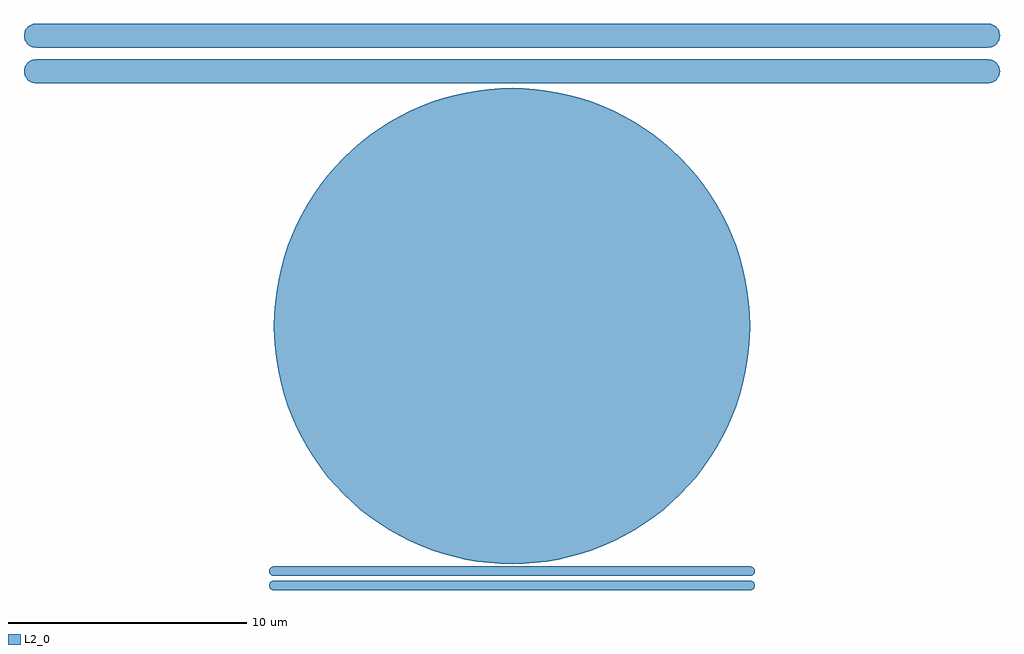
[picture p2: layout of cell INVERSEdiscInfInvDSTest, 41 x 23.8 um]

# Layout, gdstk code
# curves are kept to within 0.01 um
import gdstk
lib = gdstk.Library(unit=1e-6, precision=1e-09)
def R(c, l, rs):  # rectangles x0, y0, x1, y1
    for r in rs: c.add(gdstk.rectangle(r[:2], r[2:], *l))
def P(c, l, *ps):  # polygons
    for p in ps: c.add(gdstk.Polygon(p, *l))
L2_0 = (2, 0)

inversediscinfinvdstest = lib.new_cell('INVERSEdiscInfInvDSTest')
R(inversediscinfinvdstest, L2_0, [(-10,-11.1,10,-10.7), (-10,-10.5,10,-10.1), (-20,10.2,20,11.2), (-20,11.7,20,12.7)])
P(inversediscinfinvdstest, L2_0, [(0,-10),(-0.491,-9.988),(-0.98,-9.952),(-1.467,-9.892),(-1.951,-9.808),(-2.43,-9.7),(-2.903,-9.569),(-3.369,-9.415),(-3.827,-9.239),(-4.276,-9.04),(-4.714,-8.819),(-5.141,-8.577),(-5.556,-8.315),(-5.957,-8.032),(-6.344,-7.73),(-6.716,-7.41),(-7.071,-7.071),(-7.41,-6.716),(-7.73,-6.344),(-8.032,-5.957),(-8.315,-5.556),(-8.577,-5.141),(-8.819,-4.714),(-9.04,-4.276),(-9.239,-3.827),(-9.415,-3.369),(-9.569,-2.903),(-9.7,-2.43),(-9.808,-1.951),(-9.892,-1.467),(-9.952,-0.98),(-9.988,-0.491),(-10,0),(-9.988,0.491),(-9.952,0.98),(-9.892,1.467),(-9.808,1.951),(-9.7,2.43),(-9.569,2.903),(-9.415,3.369),(-9.239,3.827),(-9.04,4.276),(-8.819,4.714),(-8.577,5.141),(-8.315,5.556),(-8.032,5.957),(-7.73,6.344),(-7.41,6.716),(-7.071,7.071),(-6.716,7.41),(-6.344,7.73),(-5.957,8.032),(-5.556,8.315),(-5.141,8.577),(-4.714,8.819),(-4.276,9.04),(-3.827,9.239),(-3.369,9.415),(-2.903,9.569),(-2.43,9.7),(-1.951,9.808),(-1.467,9.892),(-0.98,9.952),(-0.491,9.988),(0,10),(0.491,9.988),(0.98,9.952),(1.467,9.892),(1.951,9.808),(2.43,9.7),(2.903,9.569),(3.369,9.415),(3.827,9.239),(4.276,9.04),(4.714,8.819),(5.141,8.577),(5.556,8.315),(5.957,8.032),(6.344,7.73),(6.716,7.41),(7.071,7.071),(7.41,6.716),(7.73,6.344),(8.032,5.957),(8.315,5.556),(8.577,5.141),(8.819,4.714),(9.04,4.276),(9.239,3.827),(9.415,3.369),(9.569,2.903),(9.7,2.43),(9.808,1.951),(9.892,1.467),(9.952,0.98),(9.988,0.491),(10,0),(9.988,-0.491),(9.952,-0.98),(9.892,-1.467),(9.808,-1.951),(9.7,-2.43),(9.569,-2.903),(9.415,-3.369),(9.239,-3.827),(9.04,-4.276),(8.819,-4.714),(8.577,-5.141),(8.315,-5.556),(8.032,-5.957),(7.73,-6.344),(7.41,-6.716),(7.071,-7.071),(6.716,-7.41),(6.344,-7.73),(5.957,-8.032),(5.556,-8.315),(5.141,-8.577),(4.714,-8.819),(4.276,-9.04),(3.827,-9.239),(3.369,-9.415),(2.903,-9.569),(2.43,-9.7),(1.951,-9.808),(1.467,-9.892),(0.98,-9.952),(0.491,-9.988)],
  [(20,10.2),(20,11.2),(20.101,11.19),(20.195,11.161),(20.354,11.054),(20.461,10.895),(20.49,10.801),(20.5,10.7),(20.49,10.599),(20.461,10.505),(20.354,10.346),(20.195,10.239),(20.101,10.21)],
  [(-20,10.2),(-20.101,10.21),(-20.195,10.239),(-20.354,10.346),(-20.461,10.505),(-20.49,10.599),(-20.5,10.7),(-20.49,10.801),(-20.461,10.895),(-20.354,11.054),(-20.195,11.161),(-20.101,11.19),(-20,11.2)],
  [(20,11.7),(20,12.7),(20.101,12.69),(20.195,12.661),(20.354,12.554),(20.461,12.395),(20.49,12.301),(20.5,12.2),(20.49,12.099),(20.461,12.005),(20.354,11.846),(20.195,11.739),(20.101,11.71)],
  [(-20,11.7),(-20.101,11.71),(-20.195,11.739),(-20.354,11.846),(-20.461,12.005),(-20.49,12.099),(-20.5,12.2),(-20.49,12.301),(-20.461,12.395),(-20.354,12.554),(-20.195,12.661),(-20.101,12.69),(-20,12.7)],
  [(10,-10.5),(10,-10.1),(10.078,-10.116),(10.141,-10.159),(10.184,-10.222),(10.2,-10.3),(10.184,-10.378),(10.141,-10.441),(10.078,-10.484)],
  [(-10,-10.5),(-10.078,-10.484),(-10.141,-10.441),(-10.184,-10.378),(-10.2,-10.3),(-10.184,-10.222),(-10.141,-10.159),(-10.078,-10.116),(-10,-10.1)],
  [(10,-11.1),(10,-10.7),(10.078,-10.716),(10.141,-10.759),(10.184,-10.822),(10.2,-10.9),(10.184,-10.978),(10.141,-11.041),(10.078,-11.084)],
  [(-10,-11.1),(-10.078,-11.084),(-10.141,-11.041),(-10.184,-10.978),(-10.2,-10.9),(-10.184,-10.822),(-10.141,-10.759),(-10.078,-10.716),(-10,-10.7)])

lib.write_gds('INVERSEdiscInfInvDSTest.gds')
